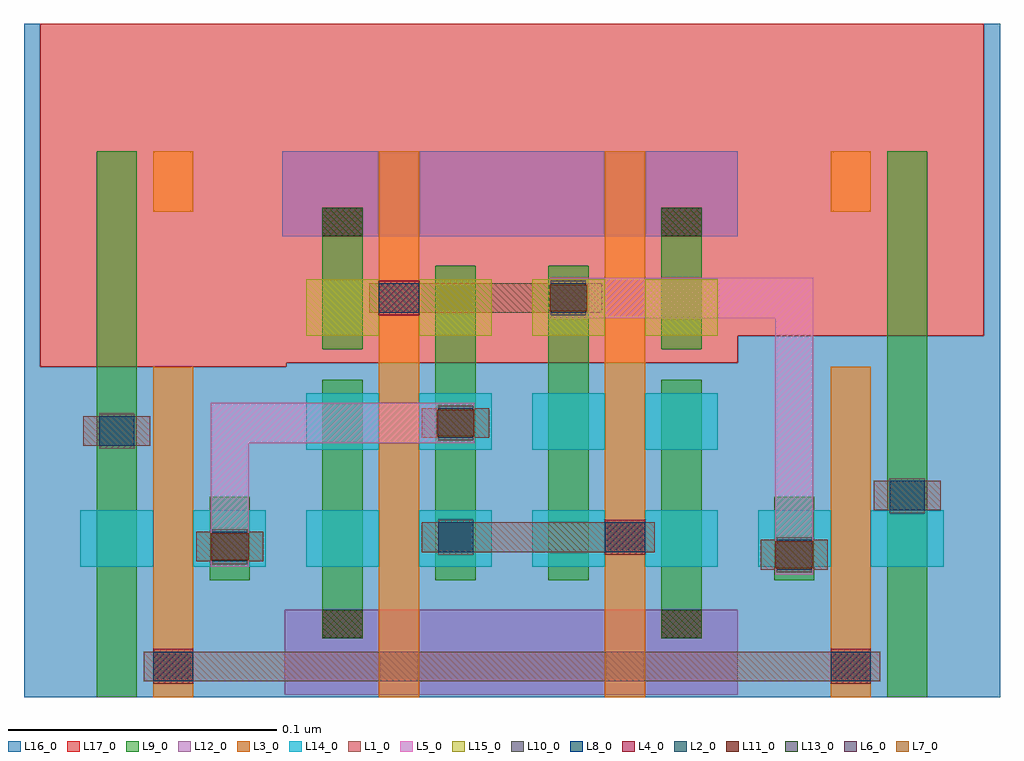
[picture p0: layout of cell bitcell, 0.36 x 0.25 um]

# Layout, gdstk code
import gdstk
lib = gdstk.Library(unit=1e-6, precision=2.5e-10)
def R(c, l, rs):  # rectangles x0, y0, x1, y1
    for r in rs: c.add(gdstk.rectangle(r[:2], r[2:], *l))
def A(c, l, x, y, w, h, nx, ny, dx, dy):  # array of equal rectangles
    R(c, l, [(x+i*dx, y+j*dy, x+i*dx+w, y+j*dy+h) for i in range(nx) for j in range(ny)])
def P(c, l, *ps):  # polygons
    for p in ps: c.add(gdstk.Polygon(p, *l))
L1_0 = (1, 0)
L2_0 = (2, 0)
L3_0 = (3, 0)
L4_0 = (4, 0)
L5_0 = (5, 0)
L6_0 = (6, 0)
L7_0 = (7, 0)
L8_0 = (8, 0)
L9_0 = (9, 0)
L10_0 = (10, 0)
L11_0 = (11, 0)
L12_0 = (12, 0)
L13_0 = (13, 0)
L14_0 = (14, 0)
L15_0 = (15, 0)
L16_0 = (16, 0)
L17_0 = (17, 0)

bitcell = lib.new_cell('bitcell')
R(bitcell, L1_0, [(-0.095,-0.0965,0.179,-0.0855), (0.1345,-0.055,0.1595,-0.044), (-0.0755,-0.052,-0.0505,-0.041), (0.0085,-0.0485,0.095,-0.0375), (0.1765,-0.033,0.2015,-0.022), (-0.1175,-0.009,-0.0925,0.002), (0.0085,-0.006,0.0335,0.005), (-0.011,0.0405,0.0755,0.0515)])
R(bitcell, L2_0, [(-0.0915,-0.0965,-0.0765,-0.0855), (0.1605,-0.0965,0.1755,-0.0855), (0.0765,-0.0485,0.0915,-0.0375), (-0.0075,0.0405,0.0075,0.0515)])
R(bitcell, L3_0, [(-0.0915,-0.1025,-0.0765,0.0205), (-0.0075,-0.1025,0.0075,0.1005), (0.0765,-0.1025,0.0915,0.1005), (0.1605,-0.1025,0.1755,0.0205), (-0.0915,0.078,-0.0765,0.1005), (0.1605,0.078,0.1755,0.1005)])
R(bitcell, L4_0, [(-0.0915,-0.0975,-0.0765,-0.0845), (0.1605,-0.0975,0.1755,-0.0845), (0.0765,-0.0495,0.0915,-0.0365), (-0.0075,0.0395,0.0075,0.0525)])
P(bitcell, L5_0, [(0.154,0.0535),(0.154,-0.057),(0.14,-0.057),(0.14,0.0385),(0.056,0.0385),(0.056,0.0535)],
  [(0.028,0.007),(0.028,-0.008),(-0.056,-0.008),(-0.056,-0.054),(-0.07,-0.054),(-0.07,0.007)])
R(bitcell, L6_0, [(0.14,-0.0545,0.154,-0.0445), (-0.07,-0.0515,-0.056,-0.0415), (0.014,-0.0055,0.028,0.0045), (0.056,0.041,0.07,0.051)])
R(bitcell, L7_0, [(0.14,-0.0545,0.154,-0.0445), (-0.07,-0.0515,-0.056,-0.0415), (0.014,-0.0055,0.028,0.0045), (0.056,0.041,0.07,0.051)])
R(bitcell, L8_0, [(0.1405,-0.055,0.1535,-0.044), (-0.0695,-0.052,-0.0565,-0.041), (0.0145,-0.0485,0.0275,-0.0375), (0.1825,-0.033,0.1955,-0.022), (-0.1115,-0.009,-0.0985,0.002), (0.0145,-0.006,0.0275,0.005), (0.0565,0.0405,0.0695,0.0515)])
R(bitcell, L9_0, [(-0.1125,-0.1025,-0.0975,0.1005), (0.1815,-0.1025,0.1965,0.1005), (-0.0285,-0.0805,-0.0135,0.0155), (0.0975,-0.0805,0.1125,0.0155), (-0.0705,-0.059,-0.0555,-0.028), (0.0135,-0.059,0.0285,0.058), (0.0555,-0.059,0.0705,0.058), (0.1395,-0.059,0.1545,-0.028), (-0.0285,0.027,-0.0135,0.0795), (0.0975,0.027,0.1125,0.0795)])
R(bitcell, L10_0, [(0.1405,-0.056,0.1535,-0.043), (-0.0695,-0.053,-0.0565,-0.04), (0.0145,-0.0495,0.0275,-0.0365), (0.1825,-0.034,0.1955,-0.021), (-0.1115,-0.01,-0.0985,0.003), (0.0145,-0.007,0.0275,0.006), (0.0565,0.0395,0.0695,0.0525)])
R(bitcell, L11_0, [(-0.0285,-0.0805,-0.0135,-0.07), (0.0975,-0.0805,0.1125,-0.07), (-0.0285,0.069,-0.0135,0.0795), (0.0975,0.069,0.1125,0.0795)])
R(bitcell, L12_0, [(-0.0425,-0.1015,0.126,-0.07), (-0.0435,0.069,0.126,0.1005)])
R(bitcell, L13_0, [(-0.0285,-0.0805,-0.0135,-0.07), (0.0975,-0.0805,0.1125,-0.07), (-0.0285,0.069,-0.0135,0.0795), (0.0975,0.069,0.1125,0.0795)])
A(bitcell, L14_0, -0.1185, -0.054, 0.027, 0.021, 8, 1, 0.042, 0)
A(bitcell, L14_0, -0.0345, -0.0105, 0.027, 0.021, 4, 1, 0.042, 0)
A(bitcell, L15_0, -0.0345, 0.032, 0.027, 0.021, 4, 1, 0.042, 0)
P(bitcell, L16_0, [(0.2235,0.148),(0.2235,-0.1025),(-0.1395,-0.1025),(-0.1395,0.148),(-0.1335,0.148),(-0.1335,0.0205),(-0.042,0.0205),(-0.042,0.022),(0.126,0.022),(0.126,0.032),(0.2175,0.032),(0.2175,0.148)])
P(bitcell, L17_0, [(0.2175,0.148),(0.2175,0.032),(0.126,0.032),(0.126,0.022),(-0.042,0.022),(-0.042,0.0205),(-0.1335,0.0205),(-0.1335,0.148)])

lib.write_gds('bitcell.gds')
